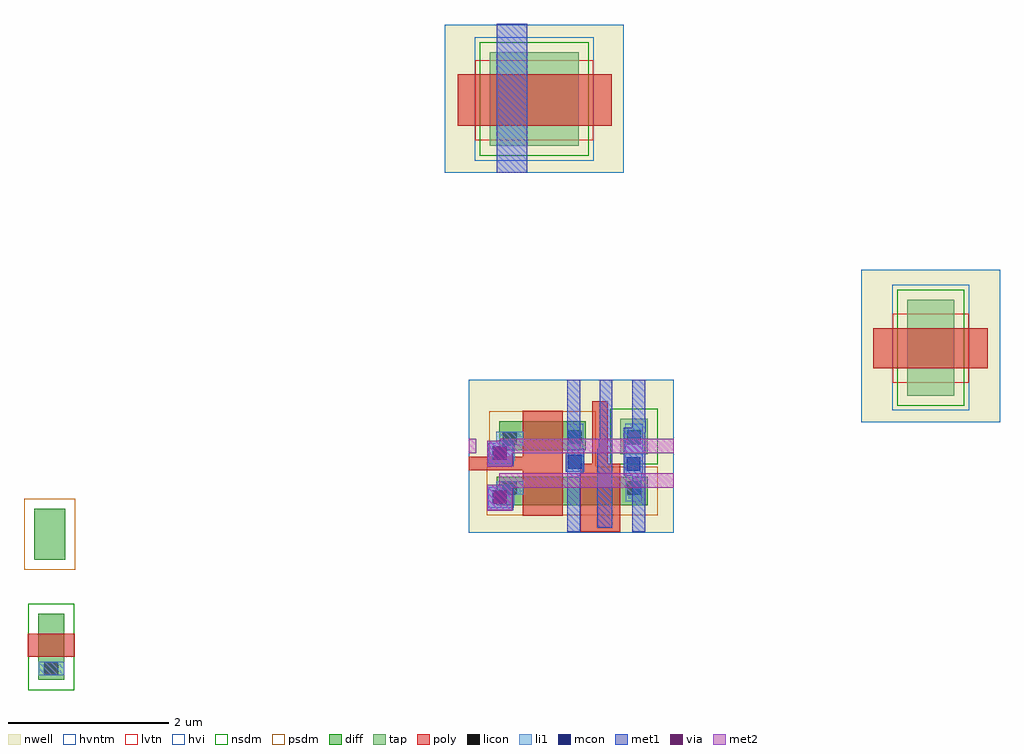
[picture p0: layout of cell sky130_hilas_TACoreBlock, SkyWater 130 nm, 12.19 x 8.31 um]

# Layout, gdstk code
import gdstk
lib = gdstk.Library(unit=1e-6, precision=1e-09)
def R(c, l, rs):  # rectangles x0, y0, x1, y1
    for r in rs: c.add(gdstk.rectangle(r[:2], r[2:], *l))
nwell = (64, 20)
diff = (65, 20)
tap = (65, 44)
poly = (66, 20)
licon = (66, 44)
li1 = (67, 20)
mcon = (67, 44)
met1 = (68, 20)
via = (68, 44)
met2 = (69, 20)
hvi = (75, 20)
nsdm = (93, 44)
psdm = (94, 20)
hvntm = (125, 20)
lvtn = (125, 44)

sky130_hilas_fgvaractorc = lib.new_cell('sky130_hilas_FGVaractorCapacitor')
R(sky130_hilas_fgvaractorc, nwell, [(0,0,2.23,1.85)])
R(sky130_hilas_fgvaractorc, tap, [(0.56,0.34,1.67,1.51)])
R(sky130_hilas_fgvaractorc, poly, [(0.16,0.59,2.08,1.23)])
R(sky130_hilas_fgvaractorc, met1, [(0.65,0,1.03,1.86)])
R(sky130_hilas_fgvaractorc, hvi, [(0,0,2.23,1.85)])
R(sky130_hilas_fgvaractorc, nsdm, [(0.435,0.215,1.795,1.635)])
R(sky130_hilas_fgvaractorc, hvntm, [(0.375,0.155,1.855,1.695)])
R(sky130_hilas_fgvaractorc, lvtn, [(0.38,0.41,1.85,1.41)])

sky130_hilas_li2m2 = lib.new_cell('sky130_hilas_li2m2')
R(sky130_hilas_li2m2, li1, [(0.01,0.03,0.33,0.06), (0.01,0.06,0.34,0.25), (0.01,0.25,0.33,0.29)])
R(sky130_hilas_li2m2, mcon, [(0.07,0.07,0.24,0.24)])
R(sky130_hilas_li2m2, met1, [(0,0,0.32,0.32)])
R(sky130_hilas_li2m2, via, [(0.085,0.085,0.235,0.235)])
R(sky130_hilas_li2m2, met2, [(0,0,0.31,0.33)])

sky130_hilas_horizpcell0 = lib.new_cell('sky130_hilas_horizPcell01')
R(sky130_hilas_horizpcell0, nwell, [(0,0,2.56,1.91)])
R(sky130_hilas_horizpcell0, diff, [(0.35,0.34,2.23,0.7), (0.38,1.03,1.46,1.39)])
R(sky130_hilas_horizpcell0, tap, [(1.89,0.98,2.23,1.42)])
R(sky130_hilas_horizpcell0, poly, [(1.39,0.01,1.89,0.86), (0.67,0.21,1.17,0.78), (0,0.78,1.17,0.95), (1.54,0.86,1.73,1.64), (0.67,0.95,1.17,1.52)])
R(sky130_hilas_horizpcell0, licon, [(0.425,0.47,0.595,0.64), (1.975,0.47,2.145,0.64), (0.425,1.09,0.595,1.26), (1.975,1.105,2.145,1.275), (1.24,1.11,1.41,1.28)])
R(sky130_hilas_horizpcell0, li1, [(1.96,0.39,2.16,0.74), (0.34,0.47,0.68,0.64), (1.96,0.74,2.17,0.77), (1.23,0.76,1.43,1.36), (1.95,0.77,2.17,1.36), (0.34,1.09,0.68,1.26)])
R(sky130_hilas_horizpcell0, mcon, [(1.97,0.77,2.14,0.94), (1.24,0.8,1.41,0.97)])
R(sky130_hilas_horizpcell0, met1, [(1.23,0.01,1.39,0.74), (2.04,0.01,2.2,0.71), (1.6,0.06,1.79,1.05), (1.93,0.71,2.2,1.26), (1.23,0.74,1.43,0.76), (1.21,0.76,1.44,1), (1.23,1,1.44,1.05), (1.23,1.05,1.39,1.91), (1.62,1.05,1.79,1.17), (1.63,1.17,1.79,1.91), (1.93,1.26,2.21,1.31), (2.04,1.31,2.21,1.4), (2.04,1.4,2.2,1.91)])
R(sky130_hilas_horizpcell0, met2, [(0.38,0.56,2.56,0.74), (0,0.99,0.09,1.17), (0.39,0.99,2.56,1.17)])
R(sky130_hilas_horizpcell0, hvi, [(0,0,2.56,1.91)])
R(sky130_hilas_horizpcell0, nsdm, [(1.765,0.855,2.355,1.545)])
R(sky130_hilas_horizpcell0, psdm, [(0.225,0.215,2.355,0.825), (0.255,0.825,1.585,1.515)])
sky130_hilas_horizpcell0.add(gdstk.Reference(sky130_hilas_li2m2, (0.23,1.15), x_reflection=True))
sky130_hilas_horizpcell0.add(gdstk.Reference(sky130_hilas_li2m2, (0.23,0.6), x_reflection=True))

sky130_hilas_tuncap01 = lib.new_cell('sky130_hilas_TunCap01')
R(sky130_hilas_tuncap01, nwell, [(0,0,1.73,1.9)])
R(sky130_hilas_tuncap01, tap, [(0.57,0.33,1.16,1.53)])
R(sky130_hilas_tuncap01, poly, [(0.15,0.67,1.58,1.17)])
R(sky130_hilas_tuncap01, hvi, [(0,0,1.73,1.9)])
R(sky130_hilas_tuncap01, nsdm, [(0.445,0.205,1.285,1.655)])
R(sky130_hilas_tuncap01, hvntm, [(0.385,0.145,1.345,1.715)])
R(sky130_hilas_tuncap01, lvtn, [(0.39,0.49,1.34,1.35)])

sky130_hilas_tacoreblock = lib.new_cell('sky130_hilas_TACoreBlock')
R(sky130_hilas_tacoreblock, diff, [(4.49,0.11,4.82,0.94), (4.44,1.61,4.83,2.25)])
R(sky130_hilas_tacoreblock, poly, [(4.36,0.4,4.95,0.69)])
R(sky130_hilas_tacoreblock, licon, [(4.57,0.17,4.74,0.34)])
R(sky130_hilas_tacoreblock, li1, [(4.49,0.17,4.82,0.34)])
R(sky130_hilas_tacoreblock, nsdm, [(4.365,-0.015,4.945,1.065)])
R(sky130_hilas_tacoreblock, psdm, [(4.315,1.485,4.955,2.375)])
sky130_hilas_tacoreblock.add(gdstk.Reference(sky130_hilas_fgvaractorc, (9.57,6.44)))
sky130_hilas_tacoreblock.add(gdstk.Reference(sky130_hilas_horizpcell0, (9.87,1.95)))
sky130_hilas_tacoreblock.add(gdstk.Reference(sky130_hilas_tuncap01, (14.77,3.33)))

lib.write_gds('sky130_hilas_TACoreBlock.gds')
